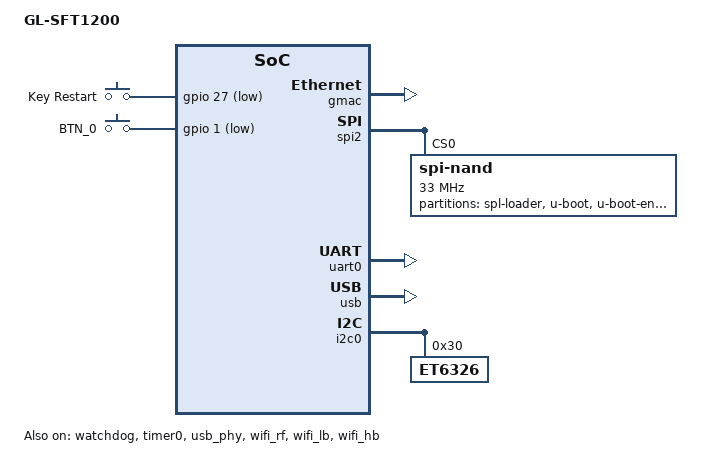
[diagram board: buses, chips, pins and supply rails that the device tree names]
/dts-v1/;

#include "sf19a28_fullmask.dtsi"
#include "sf19a28-thermal_common.dtsi"

/ {
	#address-cells = <1>;
	#size-cells = <1>;
	compatible = "glinet,gl-sft1200", "siflower,sf19a28-soc";
	model = "GL-SFT1200";
	//bootargs: chosen {
	//	bootargs = " ubi.mtd=5 rootfstype=ubifs root=/dev/mtd5";
	//};
};

&gmac {
	status = "okay";
	delay = <0x17 0x17>;
	esw-rst-gpio = <0>;
};

&spi2 {
	status = "okay";
	//use-dma;
	dmas = <&gdma 10
	&gdma 11>;
	dma-names = "tx", "rx";

	#address-cells = <1>;
	#size-cells = <0>;

	spi-nand@0 {
		compatible = "spi-nand";
		reg = <0>;	/* chip select */
		spi-max-frequency = <33000000>;

		bank-width = <2>;
		device-width = <2>;
		#address-cells = <1>;
		#size-cells = <1>;

		partition@0 {
			label = "spl-loader";
			reg = <0x0 0x20000>; /* 128k */
			read-only;
		};

		partition@20000 {
			label = "u-boot";
			reg = <0x20000 0x60000>; /* 384k */
			read-only;
		};

		partition@80000 {
			label = "u-boot-env";
			reg = <0x80000 0x20000>; /* 128k */
			read-only;
		};

		factory:partition@a0000 {
			label = "factory";
			reg = <0xa0000 0x20000>; /* 128k */
			read-only;
		};

		partition@c0000 {
			label = "firmware";
			reg = <0xc0000 0x7f400000>; /* 768k-128M */
		};

	};
};

&uart0 {
	status = "okay";
};

&watchdog {
	status = "okay";
};

&timer0 {
	status = "okay";
};

&usb_phy {
       status = "okay";
};

&usb {
       status = "okay";
};

&i2c0 {
	status = "okay";
	#address-cells = <1>;
	#size-cells = <0>;
	et6326@11{
		compatible = "ET6326";
		reg = <0x30>;
	};
};

&wifi_rf {
	status = "okay";
    /*only support ext pa for 5G*/
	//force_expa = <1>;
};

&gpio_keys {
	status = "okay";
	restart@27 {
		label = "Key Restart";
		linux,code = <0x198>; //KEY_RESTART
		gpios = <&gpio 27 1>;
		poll-interval = <10>;
		debounce-interval = <20>;
	};
	
	switch@1 {
		label = "BTN_0";
		linux,code = <0x100>; //BTN_0
		gpios = <&gpio 1 1>;
		poll-interval = <10>;
		debounce-interval = <20>;
	};
};

&wifi_lb {
	status = "okay";

	#address-cells = <1>;
	#size-cells = <0>;
	//gpio-leds = <&gpio 12 0>;
	smp-affinity = <2>;
};

&wifi_hb {
	status = "okay";

	#address-cells = <1>;
	#size-cells = <0>;
	//gpio-leds = <&gpio 12 0>;
	smp-affinity = <3>;
};
